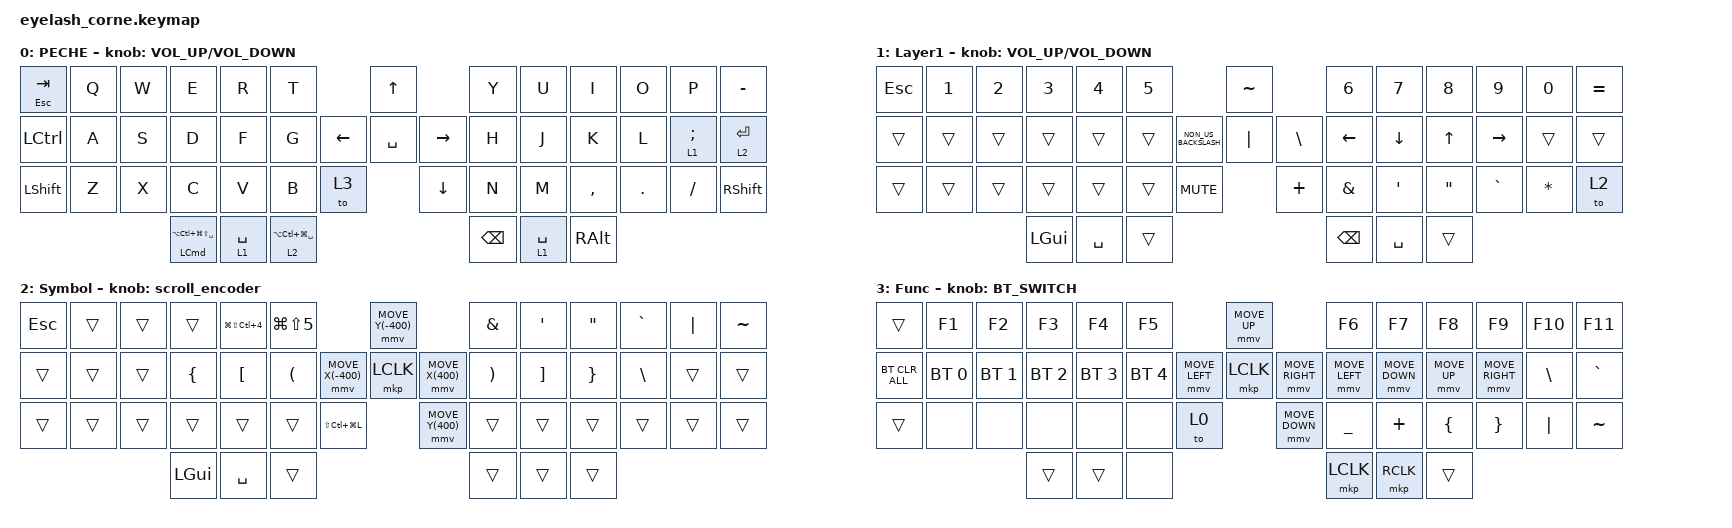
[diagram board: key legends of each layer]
#define ZMK_POINTING_DEFAULT_MOVE_VAL 1200  // 600
#define ZMK_POINTING_DEFAULT_SCRL_VAL 25   // 10

#include <input/processors.dtsi>
#include <zephyr/dt-bindings/input/input-event-codes.h>
#include <behaviors.dtsi>
#include <dt-bindings/zmk/bt.h>
#include <dt-bindings/zmk/keys.h>
#include <dt-bindings/zmk/pointing.h>
#include <dt-bindings/zmk/rgb.h>

&mmv_input_listener { input-processors = <&zip_xy_scaler 2 1>; };

&msc_input_listener { input-processors = <&zip_scroll_scaler 2 1>; };

&msc {
    acceleration-exponent = <1>;      // 0
    time-to-max-speed-ms = <100>;       // 300
    delay-ms = <0>;                   // 0
};

&mmv {
    time-to-max-speed-ms = <500>;
    acceleration-exponent = <1>;
    trigger-period-ms = <16>;
};

&soft_off { hold-time-ms = <2000>; };

/ {
    behaviors {
        td0: td0 {
            compatible = "zmk,behavior-tap-dance";
            display-name = "Shift/Caps Lock Tap Dance";
            #binding-cells = <0>;
            bindings = <&kp LEFT_SHIFT>, <&kp CAPS>;
        };

        new_scroll: new_scroll {
            compatible = "zmk,behavior-sensor-rotate";
            label = "NEW_SCROLL";
            #sensor-binding-cells = <0>;
            bindings = <&msc MOVE_Y(-5)>, <&msc MOVE_Y(5)>;
        };

        hml: homerow_mods_left {
            compatible = "zmk,behavior-hold-tap";
            label = "HOMEROW_MODS_LEFT";
            bindings = <&kp>, <&kp>;

            #binding-cells = <2>;
            tapping-term-ms = <190>;
            hold-trigger-key-positions = <45 46 19 21 6 20 35 47 36 37 23 22 7 8 9 24 38 10 11 12 25 26 27 39 40 41 0 1 2 3 4 5 13 14 15 16 17 18 28 30 31 32 33 34 42 43 44 29>;
        };

        BT_SWITCH: BT_SWITCH {
            compatible = "zmk,behavior-sensor-rotate";
            label = "BT_SWITCH";
            #sensor-binding-cells = <0>;
            bindings = <&bt BT_NXT>, <&bt BT_PRV>;
        };

        hml_quick: hml_quick {
            compatible = "zmk,behavior-hold-tap";
            label = "HML_QUICK";
            bindings = <&kp>, <&kp>;

            #binding-cells = <2>;
            tapping-term-ms = <150>;
            hold-trigger-key-positions = <0 1 2 3 4 5 6 7 8 9 10 11 12 13 14 15 16 17 18 19 20 21 22 23 24 25 26 27 28 29 30 31 32 33 34 35 36 37 38 39 40 41 42 43 44 45 46 47>;
        };
    };

    rgb_encoder: rgb_encoder {
        compatible = "zmk,behavior-sensor-rotate";
        #sensor-binding-cells = <0>;
        bindings = <&rgb_ug RGB_BRI>, <&rgb_ug RGB_BRD>;
    };

    scroll_encoder: scroll_encoder {
        compatible = "zmk,behavior-sensor-rotate";
        #sensor-binding-cells = <0>;
        bindings = <&msc SCRL_DOWN>, <&msc SCRL_UP>;

        tap-ms = <100>;
    };

    combos {
        compatible = "zmk,combos";

        softoff {
            bindings = <&soft_off>;
            key-positions = <1 15 29>;
        };
    };

    keymap {
        compatible = "zmk,keymap";

        default {
            display-name = "PECHE";
            bindings = <
&hml ESC TAB  &kp Q  &kp W  &kp E                                   &kp R        &kp T                                             &kp UP_ARROW                     &kp Y          &kp U        &kp I          &kp O    &kp P       &kp MINUS
&kp LCTRL     &kp A  &kp S  &kp D                                   &kp F        &kp G                             &kp LEFT_ARROW  &kp SPACE       &kp RIGHT_ARROW  &kp H          &kp J        &kp K          &kp L    &lt 1 SEMI  &lt 2 ENTER
&kp LSHFT     &kp Z  &kp X  &kp C                                   &kp V        &kp B                    &to 3                    &kp DOWN_ARROW                   &kp N          &kp M        &kp COMMA      &kp DOT  &kp SLASH   &kp RIGHT_SHIFT
                            &mt LEFT_COMMAND LA(LC(LG(LS(SPACE))))  &lt 1 SPACE  &lt 2 LA(LC(LG(SPACE)))                                                            &kp BACKSPACE  &lt 1 SPACE  &kp RIGHT_ALT
            >;

            sensor-bindings = <&inc_dec_kp C_VOLUME_UP C_VOLUME_DOWN>;
        };

        layer1 {
            display-name = "Layer1";
            bindings = <
&kp ESC  &kp N1  &kp N2  &kp N3        &kp N4     &kp N5                                      &kp TILDE                 &kp N6         &kp N7            &kp N8             &kp N9     &kp N0        &kp EQUAL
&trans   &trans  &trans  &trans        &trans     &trans                &kp NON_US_BACKSLASH  &kp PIPE   &kp BACKSLASH  &kp LEFT       &kp DOWN          &kp UP             &kp RIGHT  &trans        &trans
&trans   &trans  &trans  &trans        &trans     &trans  &kp C_MUTE                          &kp PLUS                  &kp AMPERSAND  &kp SINGLE_QUOTE  &kp DOUBLE_QUOTES  &kp GRAVE  &kp ASTERISK  &to 2
                         &kp LEFT_GUI  &kp SPACE  &trans                                                                &kp BACKSPACE  &kp SPACE         &trans
            >;

            sensor-bindings = <&inc_dec_kp C_VOLUME_UP C_VOLUME_DOWN>;
        };

        layer2 {
            display-name = "Symbol";
            bindings = <
&kp ESC  &trans  &trans  &trans          &kp LG(LS(LC(N4)))  &kp LG(LS(N5))                                                &mmv MOVE_Y(-400)                    &kp AMPERSAND          &kp SINGLE_QUOTE   &kp DOUBLE_QUOTES  &kp GRAVE      &kp PIPE  &kp TILDE
&trans   &trans  &trans  &kp LEFT_BRACE  &kp LEFT_BRACKET    &kp LEFT_PARENTHESIS                       &mmv MOVE_X(-400)  &mkp LCLK          &mmv MOVE_X(400)  &kp RIGHT_PARENTHESIS  &kp RIGHT_BRACKET  &kp RIGHT_BRACE    &kp BACKSLASH  &trans    &trans
&trans   &trans  &trans  &trans          &trans              &trans                &kp LS(LC(LG(L)))                       &mmv MOVE_Y(400)                     &trans                 &trans             &trans             &trans         &trans    &trans
                         &kp LEFT_GUI    &kp SPACE           &trans                                                                                             &trans                 &trans             &trans
            >;

            sensor-bindings = <&scroll_encoder>;
        };

        layer3 {
            display-name = "Func";
            bindings = <
&trans          &kp F1        &kp F2        &kp F3        &kp F4        &kp F5                                 &mmv MOVE_UP                     &kp F6          &kp F7          &kp F8        &kp F9           &kp F10   &kp F11
&bt BT_CLR_ALL  &bt BT_SEL 0  &bt BT_SEL 1  &bt BT_SEL 2  &bt BT_SEL 3  &bt BT_SEL 4           &mmv MOVE_LEFT  &mkp LCLK       &mmv MOVE_RIGHT  &mmv MOVE_LEFT  &mmv MOVE_DOWN  &mmv MOVE_UP  &mmv MOVE_RIGHT  &kp BSLH  &kp GRAVE
&trans          &none         &none         &none         &none         &none         &to 0                    &mmv MOVE_DOWN                   &kp UNDER       &kp PLUS        &kp LBRC      &kp RBRC         &kp PIPE  &kp TILDE
                                            &trans        &trans        &none                                                                   &mkp LCLK       &mkp RCLK       &trans
            >;

            sensor-bindings = <&BT_SWITCH>;
        };
    };
};
